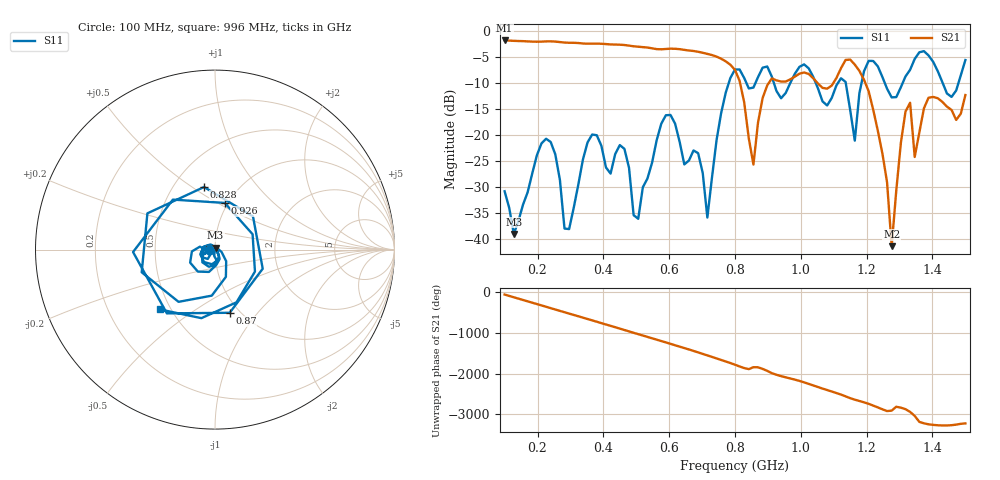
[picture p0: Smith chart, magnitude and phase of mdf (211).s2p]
! NanoVNA-App
! Date: 2025-09-25 15:40:04
! Start: 100MHz Stop: 1,5GHz Points: 101
! S-Parameter data: F S11 S21 S12 S22
# Hz S RI R 50
!  Frequency  S11_Real  S11_Imag  S21_Real  S21_Imag  S12_Real  S12_Imag  S22_Real  S22_Imag
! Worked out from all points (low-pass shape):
!   101 points, 100 MHz to 1.5 GHz, reference 50 ohm
!   highest |S21| = -1.80 dB at 100 MHz (marker M1); lowest = -41.3 dB at 1.276 GHz (marker M2)
!   |S21| within 3 dB of the highest: start of sweep to 739.2 MHz
!   lowest |S11| = -39.0 dB at 128 MHz (marker M3), VSWR 1.02, Z = 50.3 + j1.08 ohm
!   |S11| at or under -10 dB: start of sweep to 781 MHz; 1.046 GHz to 1.113 GHz (67.08 MHz wide, 6.22 % of centre); 1.255 GHz to 1.309 GHz (54.09 MHz wide, 4.22 % of centre) (the widest 3 of 7)
!   S12 and S22 are empty: the file has one direction only
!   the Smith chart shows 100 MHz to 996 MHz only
!   S11 on the Smith chart (normalised r, x): 100 MHz: 0.94, -0.01; 828 MHz: 0.70, +0.56; 870 MHz: 0.90, -0.73; 926 MHz: 0.97, +0.54; 996 MHz: 0.44, -0.37
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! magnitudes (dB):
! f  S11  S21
! 100 MHz  -30.8  -1.8
! 128 MHz  -39.0  -1.9
! 212 MHz  -21.6  -2.0
! 282 MHz  -37.9  -2.2
! 338 MHz  -24.7  -2.4
! 464 MHz  -22.6  -2.7
! 506 MHz  -36.1  -3.0
! 576 MHz  -17.8  -3.5
! 716 MHz  -35.8  -4.4
! 800 MHz  -7.4  -7.5
! 828 MHz  -9.0  -13.7
! 856 MHz  -10.9  -25.6
! 870 MHz  -8.8  -17.6
! 926 MHz  -11.5  -9.5
! 996 MHz  -6.9  -8.2
! 1.038 GHz  -8.8  -9.1
! 1.164 GHz  -21.1  -6.4
! 1.192 GHz  -7.7  -9.4
! 1.276 GHz  -12.7  -41.3
! 1.318 GHz  -8.7  -15.5
! 1.346 GHz  -5.4  -24.2
! 1.5 GHz  -5.6  -12.3
